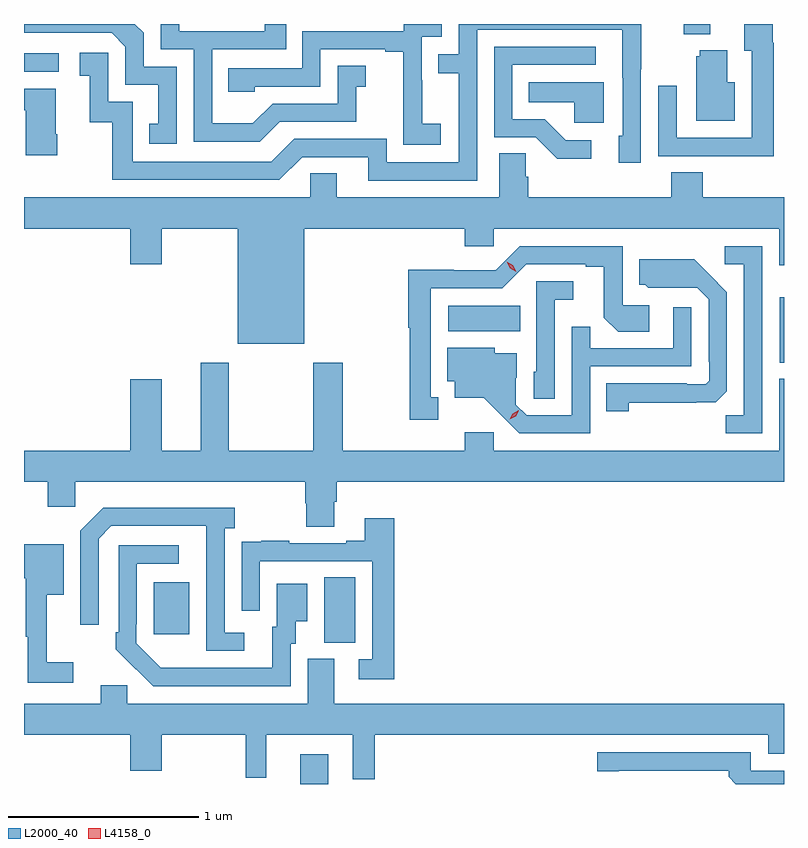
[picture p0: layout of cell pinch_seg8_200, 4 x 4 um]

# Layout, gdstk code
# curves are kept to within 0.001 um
import gdstk
lib = gdstk.Library(unit=1e-6, precision=1e-09)
def R(c, l, rs):  # rectangles x0, y0, x1, y1
    for r in rs: c.add(gdstk.rectangle(r[:2], r[2:], *l))
def P(c, l, *ps):  # polygons
    for p in ps: c.add(gdstk.Polygon(p, *l))
L2000_40 = (2000, 40)
L4158_0 = (4158, 0)

pinch_seg8_200 = lib.new_cell('pinch_seg8_200')
R(pinch_seg8_200, L2000_40, [(693.374,1138.885,693.52,1139.041), (693.5,1139.629,693.664,1139.972), (692.603,1139.673,692.791,1139.947), (695.897,1141.103,695.92,1141.447), (694.152,1141.268,694.532,1141.402), (691.92,1142.634,692.104,1142.73), (695.393,1142.831,695.533,1142.885)])
P(pinch_seg8_200, L2000_40, [(694.305,1142.856),(695.069,1142.856),(695.07,1142.298),(695.051,1142.298),(695.051,1142.154),(695.166,1142.154),(695.166,1142.647),(695.169,1142.647),(695.169,1142.885),(694.209,1142.885),(694.209,1142.727),(694.099,1142.727),(694.099,1142.626),(694.209,1142.626),(694.209,1142.157),(693.828,1142.157),(693.828,1142.28),(693.342,1142.28),(693.222,1142.16),(692.493,1142.16),(692.493,1142.475),(692.364,1142.475),(692.364,1142.734),(692.214,1142.734),(692.214,1142.613),(692.267,1142.613),(692.267,1142.367),(692.385,1142.367),(692.385,1142.064),(693.264,1142.064),(693.384,1142.184),(693.731,1142.184),(693.731,1142.061),(694.305,1142.061)],
  [(694.114,1142.359),(694.016,1142.359),(694.016,1142.588),(694.014,1142.588),(694.014,1142.817),(694.119,1142.817),(694.119,1142.885),(693.918,1142.885),(693.918,1142.847),(693.384,1142.847),(693.384,1142.652),(692.995,1142.652),(692.995,1142.529),(693.135,1142.529),(693.135,1142.556),(693.48,1142.556),(693.48,1142.751),(693.821,1142.751),(693.821,1142.739),(693.917,1142.739),(693.917,1142.455),(693.916,1142.455),(693.916,1142.249),(694.114,1142.249)],
  [(693.265,1142.37),(693.669,1142.37),(693.669,1142.555),(693.718,1142.555),(693.718,1142.665),(693.57,1142.665),(693.57,1142.466),(693.228,1142.466),(693.124,1142.362),(692.91,1142.362),(692.91,1142.751),(693.299,1142.751),(693.299,1142.885),(693.188,1142.885),(693.188,1142.847),(692.737,1142.847),(692.737,1142.885),(692.64,1142.885),(692.64,1142.751),(692.814,1142.751),(692.814,1142.265),(693.16,1142.265)],
  [(692.724,1142.661),(692.55,1142.661),(692.55,1142.838),(692.503,1142.885),(691.92,1142.885),(691.92,1142.838),(692.382,1142.838),(692.454,1142.766),(692.454,1142.565),(692.627,1142.565),(692.627,1142.361),(692.578,1142.361),(692.578,1142.256),(692.724,1142.256)],
  [(695.867,1142.786),(695.86,1142.786),(695.86,1142.885),(695.711,1142.885),(695.711,1142.743),(695.751,1142.743),(695.751,1142.286),(695.355,1142.286),(695.355,1142.56),(695.259,1142.56),(695.259,1142.19),(695.575,1142.19),(695.575,1142.189),(695.867,1142.189)],
  [(694.906,1142.274),(694.771,1142.274),(694.66,1142.385),(694.491,1142.385),(694.491,1142.67),(694.93,1142.67),(694.93,1142.766),(694.395,1142.766),(694.395,1142.289),(694.614,1142.289),(694.727,1142.177),(694.906,1142.177)],
  [(695.662,1142.578),(695.62,1142.578),(695.62,1142.746),(695.477,1142.746),(695.477,1142.715),(695.459,1142.715),(695.459,1142.375),(695.662,1142.375)],
  [(694.972,1142.578),(694.576,1142.578),(694.576,1142.474),(694.815,1142.474),(694.815,1142.366),(694.972,1142.366)],
  [(692.094,1142.305),(692.086,1142.305),(692.086,1142.545),(691.92,1142.545),(691.92,1142.431),(691.928,1142.431),(691.928,1142.193),(692.094,1142.193)],
  [(693.394,1141.808),(694.241,1141.808),(694.241,1141.715),(694.392,1141.715),(694.392,1141.808),(695.894,1141.808),(695.894,1141.614),(695.92,1141.614),(695.92,1141.972),(695.492,1141.972),(695.492,1142.105),(695.327,1142.105),(695.327,1141.972),(694.574,1141.972),(694.574,1142.081),(694.56,1142.081),(694.56,1142.204),(694.421,1142.204),(694.421,1141.972),(693.565,1141.972),(693.565,1142.099),(693.426,1142.099),(693.426,1141.972),(691.92,1141.972),(691.92,1141.808),(692.48,1141.808),(692.48,1141.62),(692.644,1141.62),(692.644,1141.808),(693.044,1141.808),(693.044,1141.202),(693.394,1141.202)],
  [(694.099,1140.921),(694.06,1140.921),(694.06,1141.494),(694.437,1141.494),(694.563,1141.62),(694.877,1141.62),(694.877,1141.608),(694.971,1141.608),(694.971,1141.34),(695.047,1141.264),(695.212,1141.264),(695.212,1141.404),(695.07,1141.404),(695.07,1141.716),(694.53,1141.716),(694.404,1141.59),(694.182,1141.59),(694.182,1141.592),(693.942,1141.592),(693.942,1141.287),(693.949,1141.287),(693.949,1140.801),(694.099,1140.801)],
  [(695.805,1141.716),(695.607,1141.716),(695.607,1141.62),(695.709,1141.62),(695.709,1140.827),(695.614,1140.827),(695.614,1140.732),(695.805,1140.732)],
  [(695.103,1140.892),(695.56,1140.893),(695.619,1140.952),(695.619,1141.474),(695.447,1141.648),(695.159,1141.648),(695.159,1141.512),(695.19,1141.512),(695.206,1141.496),(695.463,1141.497),(695.523,1141.437),(695.523,1141.108),(695.526,1141.108),(695.526,1141.008),(695.508,1140.99),(695.408,1140.99),(695.408,1140.993),(694.984,1140.993),(694.984,1140.846),(695.103,1140.846)],
  [(694.713,1141.433),(694.81,1141.433),(694.81,1141.53),(694.617,1141.53),(694.617,1141.056),(694.602,1141.056),(694.602,1140.913),(694.713,1140.913)],
  [(694.899,1141.083),(695.433,1141.083),(695.433,1141.393),(695.337,1141.393),(695.337,1141.179),(694.901,1141.179),(694.901,1141.292),(694.803,1141.292),(694.803,1140.825),(694.566,1140.825),(694.509,1140.882),(694.509,1141.024),(694.513,1141.024),(694.513,1141.153),(694.398,1141.153),(694.398,1141.18),(694.148,1141.18),(694.148,1141.004),(694.187,1141.004),(694.187,1140.917),(694.339,1140.917),(694.526,1140.732),(694.899,1140.732)],
  [(692.48,1141.015),(692.48,1140.64),(691.92,1140.64),(691.92,1140.476),(692.044,1140.476),(692.044,1140.345),(692.19,1140.345),(692.19,1140.476),(693.401,1140.476),(693.401,1140.363),(693.406,1140.363),(693.406,1140.238),(693.553,1140.238),(693.553,1140.37),(693.566,1140.37),(693.566,1140.476),(695.92,1140.476),(695.92,1141.018),(695.894,1141.018),(695.894,1140.64),(694.392,1140.64),(694.392,1140.736),(694.241,1140.736),(694.241,1140.64),(693.597,1140.64),(693.597,1141.102),(693.442,1141.102),(693.442,1140.64),(692.997,1140.64),(692.997,1141.102),(692.849,1141.102),(692.849,1140.64),(692.644,1140.64),(692.644,1141.015)],
  [(693.079,1139.682),(692.976,1139.682),(692.976,1140.23),(693.028,1140.23),(693.028,1140.34),(692.338,1140.34),(692.217,1140.219),(692.217,1139.724),(692.313,1139.724),(692.313,1140.177),(692.379,1140.243),(692.879,1140.243),(692.88,1139.586),(693.079,1139.586)],
  [(693.869,1140.283),(693.713,1140.283),(693.713,1140.166),(693.617,1140.166),(693.617,1140.153),(693.317,1140.153),(693.317,1140.166),(693.169,1140.166),(693.169,1140.159),(693.067,1140.159),(693.067,1140.05),(693.066,1140.05),(693.066,1139.796),(693.162,1139.796),(693.162,1140.057),(693.753,1140.057),(693.753,1139.541),(693.681,1139.541),(693.681,1139.436),(693.869,1139.436)],
  [(692.179,1139.527),(692.039,1139.527),(692.039,1139.882),(692.128,1139.882),(692.128,1140.147),(691.92,1140.147),(691.92,1139.969),(691.929,1139.969),(691.929,1139.659),(691.94,1139.659),(691.94,1139.418),(692.179,1139.418)],
  [(693.324,1139.622),(693.349,1139.622),(693.349,1139.741),(693.412,1139.741),(693.412,1139.938),(693.251,1139.938),(693.251,1139.712),(693.227,1139.712),(693.227,1139.496),(692.64,1139.497),(692.511,1139.625),(692.511,1139.725),(692.514,1139.725),(692.514,1140.045),(692.734,1140.045),(692.734,1140.141),(692.418,1140.141),(692.418,1139.683),(692.403,1139.683),(692.403,1139.595),(692.6,1139.4),(693.324,1139.4)],
  [(693.767,1139.144),(695.837,1139.144),(695.837,1139.045),(695.92,1139.045),(695.92,1139.308),(693.553,1139.308),(693.553,1139.544),(693.413,1139.544),(693.413,1139.308),(692.463,1139.308),(692.463,1139.406),(692.324,1139.406),(692.324,1139.308),(691.92,1139.308),(691.92,1139.144),(692.48,1139.144),(692.48,1138.956),(692.644,1138.956),(692.644,1139.144),(693.087,1139.144),(693.087,1138.919),(693.196,1138.919),(693.196,1139.144),(693.65,1139.144),(693.65,1138.911),(693.767,1138.911)],
  [(695.92,1138.956),(695.745,1138.956),(695.745,1139.052),(694.938,1139.052),(694.938,1138.951),(695.05,1138.951),(695.05,1138.956),(695.63,1138.956),(695.63,1138.922),(695.666,1138.885),(695.92,1138.885)])
P(pinch_seg8_200, L4158_0, [(694.476,1140.805),(694.476,1140.805),(694.493,1140.835),(694.524,1140.851),(694.524,1140.851),(694.524,1140.85),(694.507,1140.821),(694.477,1140.805)],
  [(694.51,1141.581),(694.479,1141.6),(694.462,1141.633),(694.462,1141.633),(694.462,1141.633),(694.493,1141.614),(694.511,1141.581),(694.511,1141.581)])

lib.write_gds('pinch_seg8_200.gds')
